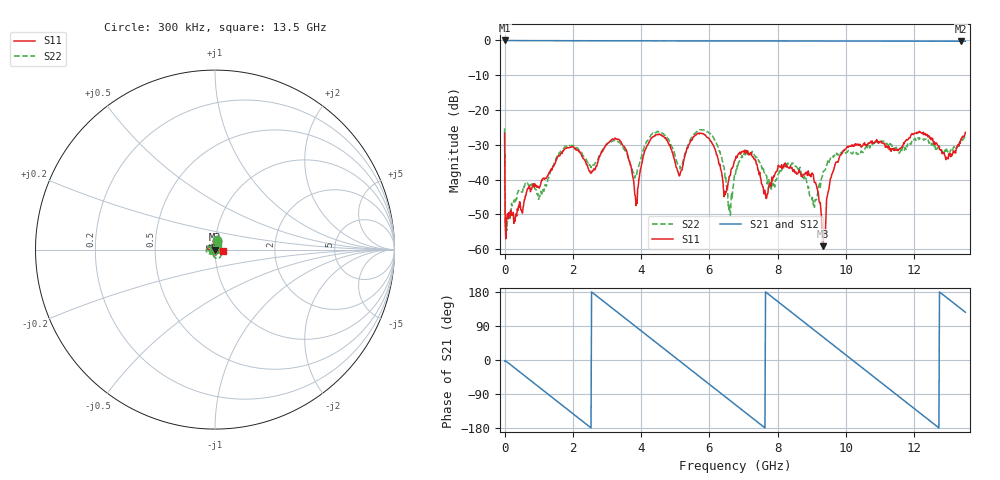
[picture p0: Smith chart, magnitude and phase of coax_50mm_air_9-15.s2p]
!Agilent Technologies,N5230C,MY48100320,A.08.04.10
!Agilent N5230C: A.08.04.10
!Date: Thursday, September 15, 2016 17:43:16
!Correction: S11(Full 2 Port(1,2))
!S21(Full 2 Port(1,2))
!S12(Full 2 Port(1,2))
!S22(Full 2 Port(1,2))
!S2P File: Measurements: S11, S21, S12, S22:
# Hz S  MA  R 50
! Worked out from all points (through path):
!   801 points, 300 kHz to 13.5 GHz, reference 50 ohm
!   highest |S21| = 0.00 dB at 17.17 MHz (marker M1); lowest = -0.2 dB at 13.37 GHz (marker M2)
!   group delay of S21, straight-line fit = 196 ps
!   lowest |S11| = -59.1 dB at 9.315 GHz (marker M3), VSWR 1.00, Z = 49.9 - j0.058 ohm
!   |S11| at or under -10 dB: start of sweep to end of sweep
!   |S22| runs from -54.6 to -25.2 dB; largest |S21 - S12| = 0.0037
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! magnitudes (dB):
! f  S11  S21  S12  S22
! 300 kHz  -26.7  -0.1  -0.1  -25.2
! 17.17 MHz  -52.3  0.0  0.0  -49.9
! 84.67 MHz  -49.8  0.0  0.0  -51.6
! 1.738 GHz  -31.5  -0.1  -0.1  -30.9
! 2.261 GHz  -33.2  -0.1  -0.1  -32.2
! 3.341 GHz  -28.4  -0.1  -0.1  -29.2
! 3.865 GHz  -45.9  -0.1  -0.1  -38.7
! 4.506 GHz  -27.1  -0.1  -0.1  -26.3
! 5.13 GHz  -38.9  -0.1  -0.1  -36.1
! 5.906 GHz  -27.5  -0.1  -0.1  -26.0
! 6.463 GHz  -44.4  -0.1  -0.1  -39.5
! 6.598 GHz  -38.9  -0.1  -0.1  -49.9
! 6.75 GHz  -34.5  -0.1  -0.1  -39.1
! 7.273 GHz  -33.5  -0.2  -0.1  -32.2
! 7.645 GHz  -44.5  -0.1  -0.1  -38.1
! 8.471 GHz  -37.1  -0.2  -0.2  -35.7
! 9.011 GHz  -38.1  -0.2  -0.2  -45.8
! 9.315 GHz  -59.1  -0.2  -0.2  -38.9
! 9.973 GHz  -31.3  -0.2  -0.2  -32.1
! 11.26 GHz  -30.4  -0.2  -0.2  -30.2
! 13.37 GHz  -28.4  -0.2  -0.2  -28.9
! 13.5 GHz  -26.4  -0.2  -0.2  -27.8
